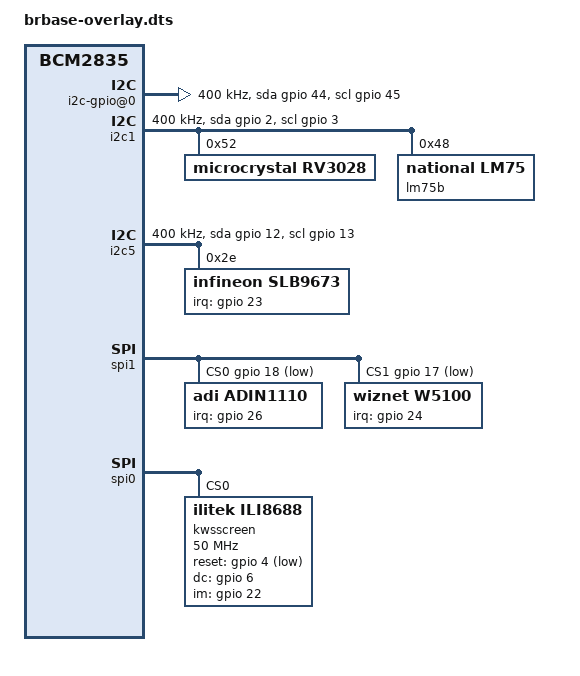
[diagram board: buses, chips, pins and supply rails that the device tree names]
// Device tree overlay for https://kws-computer.de/produkte-2/bridgeth/base
// for details see ...
/dts-v1/;
/plugin/;

/ {
        compatible = "brcm,bcm2835";
        fragment@0 {
                target = <&gpio>;
                __overlay__ {

                        kwsscreen_pins: kwsscreen_pins {
                            brcm,pins = <6 22 4>;
                            brcm,function = <1 1 1>; /* out out out */
                        };

                        spi1_pins: spi1_pins {
                                brcm,pins = <19 20 21>;
                                brcm,function = <3>;
                        };

                        spi1_cs_pins: spi1_cs_pins {
                                brcm,pins = <18 17>;
                                brcm,function = <1>;
                        };

                        w5100_pins: w5100_pins {
                                brcm,pins = <24>;
                                brcm,function = <0>;
                                brcm,pull = <0>;
                        };

                        slb9673_pins: slb9673_pins {
                                brcm,pins = <23>;
                                brcm,function = <0>;
                                brcm,pull = <2>;
                        };
                };
        };

        fragment@1 {
                target = <&spi1>;
                __overlay__ {
                        #address-cells = <1>;
                        #size-cells = <0>;
                        pinctrl-names = "default";
                        pinctrl-0 = <&spi1_pins &spi1_cs_pins>;
                        cs-gpios = <&gpio 18 1>, <&gpio 17 1>;
                        status = "okay";
                        adin1110@0 {
                                compatible = "adi,adin1110";
                                reg = <0>;
                                interrupt-parent = <&gpio>;
                                interrupts = <26 8>;
                                //spi-max-frequency = <25000000>;
                                adi,spi-crc;
                                mac-address = [00 11 22 33 44 55];
                                status = "okay";
                                phy@1 {
                                        compatible = "ethernet-phy-id0283.bc91";
                                        reg = <0x0>;
                                };
                        };
                        w5100: w5100@1 {
                                compatible = "wiznet,w5100";
                                reg = <1>;
                                pinctrl-names = "default";
                                pinctrl-0 = <&w5100_pins>;
                                interrupt-parent = <&gpio>;
                                interrupts = <24 0x8>;
                                //spi-max-frequency = <30000000>;
                                status = "okay";
                        };
                };
        };

        fragment@2 {
                target = <&i2c_arm>;
                __overlay__ {
                        status = "disabled";
                };
        };

        fragment@3 {
                target-path = "/";
                __overlay__ {
                        i2c-gpio@0 {
                                #address-cells = <1>;
                                #size-cells = <0>;
                                compatible = "i2c-gpio";
                                gpios = <&gpio 44 6>, <&gpio 45 6>;
                                clock-frequency = <400000>;
                                status = "okay";
                        };

                        i2c1: i2c-gpio@1 {
                                #address-cells = <1>;
                                #size-cells = <0>;
                                compatible = "i2c-gpio";
                                gpios = <&gpio 2 6>, <&gpio 3 6>;
                                clock-frequency = <400000>;
                                status = "okay";
                        };

                        i2c5: i2c-gpio@5 {
                                #address-cells = <1>;
                                #size-cells = <0>;
                                compatible = "i2c-gpio";
                                gpios = <&gpio 12 6>, <&gpio 13 6>;
                                clock-frequency = <400000>;
                                status = "okay";
                        };
                };
        };

        fragment@4 {
                target = <&i2c1>;
                __overlay__ {
                        #address-cells = <1>;
                        #size-cells = <0>;
                        rv3028@54 {
                                compatible = "microcrystal,rv3028";
                                reg = <0x52>;
                                backup-switchover-mode = <3>;
                                trickle-resistor-ohms = <3000>;
                        };
                        lm75b@90 {
                                compatible = "national,lm75";
                                reg = <0x48>;
                                status = "okay";
                        };
                };
        };

        fragment@5 {
                target = <&i2c5>;
                __overlay__ {
                        #address-cells = <1>;
                        #size-cells = <0>;
                        slb9673@2e {
                                compatible = "infineon,slb9673", "tcg,tpm-tis-i2c";
                                reg = <0x2e>;
                                pinctrl-names = "default";
                                pinctrl-0 = <&slb9673_pins>;
                                interrupt-parent = <&gpio>;
                                interrupts = <23 0>;
                                status = "okay";
                        };
                };
        };

        fragment@6 {
            target = <&spi0>;
            __overlay__ {
                status = "okay";
            };
        };

        fragment@7 {
            target = <&spidev0>;
            __overlay__ {
                status = "disabled";
            };
        };

        fragment@8 {
            target = <&spidev1>;
            __overlay__ {
                status = "disabled";
            };
        };

        fragment@9 {
        target = <&spi0>;
        frag1: __overlay__ {
            /* needed to avoid dtc warning */
            #address-cells = <1>;
            #size-cells = <0>;

            kwsscreen: kwsscreen@0{
                compatible = "ilitek,ili8688";
                reg = <0>;
                pinctrl-names = "default";
                pinctrl-0 = <&kwsscreen_pins>;
                spi-max-frequency = <50000000>;
                rotate = <0>;
                fps = <30>;
                buswidth = <8>;
                regwidth = <8>;
                bgr = <0>;
                bpp = <24>;
                reset-gpios = <&gpio 4 1>;
                dc-gpios = <&gpio 6 0>;
                im-gpios= <&gpio 22 0>;

                status = "okay";
            };
        };
    };

        __overrides__ {
                int_pin = <&w5100>, "interrupts:0", <&w5100_pins>, "brcm,pins:0";
                cs = <&w5100>, "reg:0", <0>, "!0=1";
                rotate =    <&kwsscreen>,"rotate:0";
                fps =       <&kwsscreen>,"fps:0";
                debug =     <&kwsscreen>,"debug:0";
        };
};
